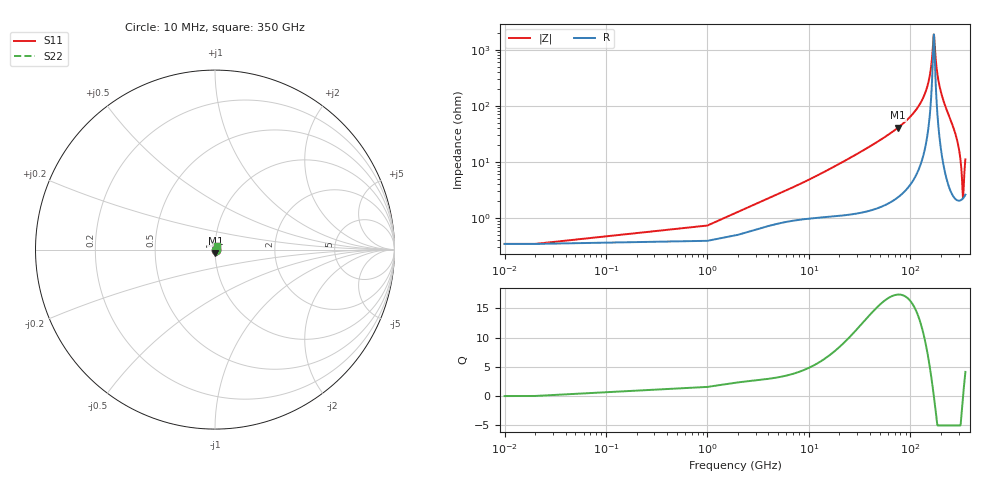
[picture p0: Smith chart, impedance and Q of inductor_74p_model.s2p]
! Inductor model fitted by inductor_fit.py from inductor_74p.s2p
#  Hz  S  RI  R  50
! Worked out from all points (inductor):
!   352 points, 10 MHz to 350 GHz, reference 50 ohm
!   read as 1/Y11, port 2 shorted: L = 77.9 pH near 5 GHz
!   highest Q = 17.3 at 76 GHz (marker M1), where L = 85.7 pH
!   self-resonance near 171.1 GHz
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1e7  0.00346 1.62e-05  0.9965 -0.00011  0.9965 -0.00011  0.00346 1.62e-05
3e9  0.00627 0.00255  0.9933 -0.0307  0.9933 -0.0307  0.00627 0.00255
5e9  0.00802 0.00185  0.9909 -0.0488  0.9909 -0.0488  0.00802 0.00185
8e9  0.00923 0.000238  0.9879 -0.0754  0.9879 -0.0754  0.00923 0.000238
3.3e10  0.00903 -0.0092  0.9431 -0.2956  0.9431 -0.2956  0.00903 -0.0092
5.9e10  0.00569 -0.0163  0.8446 -0.508  0.8446 -0.508  0.00569 -0.0163
7.6e10  0.00259 -0.0195  0.7543 -0.6312  0.7543 -0.6312  0.00259 -0.0195
1.17e11  -0.00403 -0.0207  0.4686 -0.8593  0.4686 -0.8593  -0.00403 -0.0207
1.47e11  -0.00416 -0.0175  0.2162 -0.9515  0.2162 -0.9515  -0.00416 -0.0175
1.76e11  0.000751 -0.015  -0.0445 -0.9722  -0.0445 -0.9722  0.000751 -0.015
1.94e11  0.00537 -0.0153  -0.2067 -0.9495  -0.2067 -0.9495  0.00537 -0.0153
2.34e11  0.014 -0.0215  -0.5423 -0.8023  -0.5423 -0.8023  0.014 -0.0215
2.65e11  0.0139 -0.0271  -0.7537 -0.6041  -0.7537 -0.6041  0.0139 -0.0271
2.92e11  0.00857 -0.0254  -0.8846 -0.3824  -0.8846 -0.3824  0.00857 -0.0254
3.06e11  0.00544 -0.0201  -0.9285 -0.2537  -0.9285 -0.2537  0.00544 -0.0201
3.16e11  0.00388 -0.0141  -0.9486 -0.1577  -0.9486 -0.1577  0.00388 -0.0141
3.22e11  0.00348 -0.00951  -0.956 -0.0987  -0.956 -0.0987  0.00348 -0.00951
3.3e11  0.00382 -0.00234  -0.96 -0.0191  -0.96 -0.0191  0.00382 -0.00234
3.32e11  0.0041 -0.000366  -0.96 0.000933  -0.96 0.000933  0.0041 -0.000366
3.34e11  0.00446 0.00168  -0.9596 0.021  -0.9596 0.021  0.00446 0.00168
3.42e11  0.00686 0.0105  -0.9534 0.1015  -0.9534 0.1015  0.00686 0.0105
3.5e11  0.011 0.0202  -0.9402 0.1819  -0.9402 0.1819  0.011 0.0202
